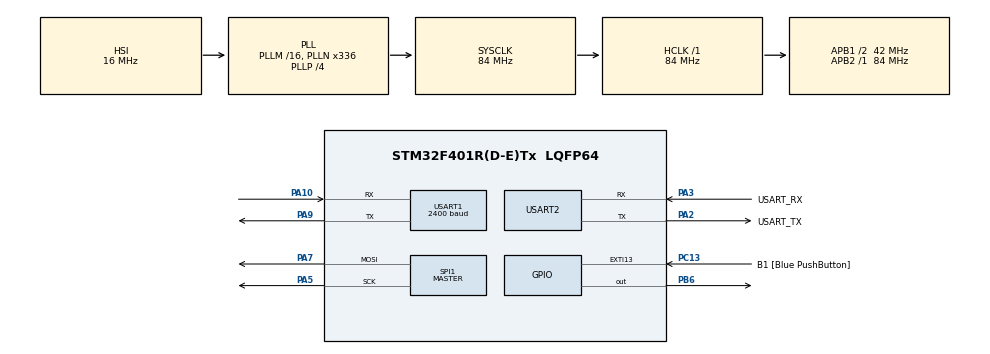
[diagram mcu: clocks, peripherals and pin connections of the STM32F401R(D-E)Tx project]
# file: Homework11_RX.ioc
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Dma.Request0=USART2_TX
Dma.Request1=SPI1_TX
Dma.SPI1_TX.1.Direction=DMA_MEMORY_TO_PERIPH
Dma.SPI1_TX.1.FIFOMode=DMA_FIFOMODE_DISABLE
Dma.SPI1_TX.1.Instance=DMA2_Stream3
Dma.SPI1_TX.1.MemDataAlignment=DMA_MDATAALIGN_BYTE
Dma.SPI1_TX.1.MemInc=DMA_MINC_ENABLE
Dma.SPI1_TX.1.Mode=DMA_NORMAL
Dma.SPI1_TX.1.PeriphDataAlignment=DMA_PDATAALIGN_BYTE
Dma.SPI1_TX.1.PeriphInc=DMA_PINC_DISABLE
Dma.SPI1_TX.1.Priority=DMA_PRIORITY_LOW
Dma.USART2_TX.0.Direction=DMA_MEMORY_TO_PERIPH
Dma.USART2_TX.0.FIFOMode=DMA_FIFOMODE_DISABLE
Dma.USART2_TX.0.Instance=DMA1_Stream6
Dma.USART2_TX.0.MemDataAlignment=DMA_MDATAALIGN_BYTE
Dma.USART2_TX.0.MemInc=DMA_MINC_ENABLE
Dma.USART2_TX.0.Mode=DMA_NORMAL
Dma.USART2_TX.0.PeriphDataAlignment=DMA_PDATAALIGN_BYTE
Dma.USART2_TX.0.PeriphInc=DMA_PINC_DISABLE
Dma.USART2_TX.0.Priority=DMA_PRIORITY_LOW
Mcu.Family=STM32F4
Mcu.Name=STM32F401R(D-E)Tx
Mcu.Package=LQFP64
NVIC.DMA1_Stream6_IRQn=true\:0\:0\:false\:false\:true\:false\:true\:true
NVIC.DMA2_Stream3_IRQn=true\:0\:0\:false\:false\:true\:false\:true\:true
NVIC.PriorityGroup=NVIC_PRIORITYGROUP_4
NVIC.SPI1_IRQn=true\:0\:0\:false\:false\:true\:true\:true\:true
NVIC.TIM3_IRQn=true\:0\:0\:false\:false\:true\:true\:true\:true
NVIC.USART1_IRQn=true\:0\:0\:false\:false\:true\:true\:true\:true
NVIC.USART2_IRQn=true\:0\:0\:false\:false\:true\:true\:true\:true
PA10.Mode=Asynchronous
PA10.Signal=USART1_RX
PA13.GPIO_Label=TMS
PA13.Mode=Trace_Asynchronous_SW
PA13.Signal=SYS_JTMS-SWDIO
PA14.GPIO_Label=TCK
PA14.Mode=Trace_Asynchronous_SW
PA14.Signal=SYS_JTCK-SWCLK
PA2.GPIO_Label=USART_TX
PA2.GPIO_Mode=GPIO_MODE_AF_PP
PA2.GPIO_PuPd=GPIO_NOPULL
PA2.GPIO_Speed=GPIO_SPEED_FREQ_LOW
PA2.Mode=Asynchronous
PA2.Signal=USART2_TX
PA3.GPIO_Label=USART_RX
PA3.GPIO_Mode=GPIO_MODE_AF_PP
PA3.GPIO_PuPd=GPIO_NOPULL
PA3.GPIO_Speed=GPIO_SPEED_FREQ_LOW
PA3.Mode=Asynchronous
PA3.Signal=USART2_RX
PA4.Signal=SPI1_NSS
PA5.Mode=TX_Only_Simplex_Unidirect_Master
PA5.Signal=SPI1_SCK
PA6.Signal=SPI1_MISO
PA7.Mode=TX_Only_Simplex_Unidirect_Master
PA7.Signal=SPI1_MOSI
PA9.Mode=Asynchronous
PA9.Signal=USART1_TX
PB3.GPIO_Label=SWO
PB3.Mode=Trace_Asynchronous_SW
PB3.Signal=SYS_JTDO-SWO
PB6.Signal=GPIO_Output
PC13-ANTI_TAMP.GPIO_Label=B1 [Blue PushButton]
PC13-ANTI_TAMP.GPIO_ModeDefaultEXTI=GPIO_MODE_IT_FALLING
PC13-ANTI_TAMP.GPIO_PuPd=GPIO_NOPULL
PC13-ANTI_TAMP.Signal=GPXTI13
PC14-OSC32_IN.Mode=LSE-External-Oscillator
PC14-OSC32_IN.Signal=RCC_OSC32_IN
PC15-OSC32_OUT.Mode=LSE-External-Oscillator
PC15-OSC32_OUT.Signal=RCC_OSC32_OUT
PH0\ -\ OSC_IN.Mode=HSE-External-Clock-Source
PH0\ -\ OSC_IN.Signal=RCC_OSC_IN
PH1\ -\ OSC_OUT.Mode=HSE-External-Clock-Source
PH1\ -\ OSC_OUT.Signal=RCC_OSC_OUT
ProjectManager.HeapSize=0x200
ProjectManager.StackSize=0x400
ProjectManager.TargetToolchain=STM32CubeIDE
RCC.48MHZClocksFreq_Value=48000000
RCC.AHBFreq_Value=84000000
RCC.APB1CLKDivider=RCC_HCLK_DIV2
RCC.APB1Freq_Value=42000000
RCC.APB1TimFreq_Value=84000000
RCC.APB2Freq_Value=84000000
RCC.APB2TimFreq_Value=84000000
RCC.CortexFreq_Value=84000000
RCC.HCLKFreq_Value=84000000
RCC.HSE_VALUE=8000000
RCC.HSI_VALUE=16000000
RCC.PLLN=336
RCC.PLLP=RCC_PLLP_DIV4
RCC.PLLQ=7
RCC.SYSCLKFreq_VALUE=84000000
RCC.SYSCLKSource=RCC_SYSCLKSOURCE_PLLCLK
RCC.VCOOutputFreq_Value=336000000
SPI1.BaudRatePrescaler=SPI_BAUDRATEPRESCALER_4
SPI1.Direction=SPI_DIRECTION_2LINES
SPI1.Mode=SPI_MODE_MASTER
SPI1.VirtualType=VM_MASTER
TIM3.Period=399
TIM3.Prescaler=839
TIM3.TIM_MasterOutputTrigger=TIM_TRGO_UPDATE
USART1.BaudRate=2400
USART1.VirtualMode=VM_ASYNC
USART1.WordLength=WORDLENGTH_8B
USART2.VirtualMode=VM_ASYNC
VP_TIM3_VS_ClockSourceINT.Mode=Internal
board=NUCLEO-F401RE

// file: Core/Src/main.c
/* USER CODE BEGIN Header */
/**
  ******************************************************************************
  * @file           : main.c
  * @brief          : Main program body
  ******************************************************************************
  * @attention
  *
  * Copyright (c) 2025 STMicroelectronics.
  * All rights reserved.
  *
  * This software is licensed under terms that can be found in the LICENSE file
  * in the root directory of this software component.
  * If no LICENSE file comes with this software, it is provided AS-IS.
  *
  ******************************************************************************
  */
/* USER CODE END Header */
#include "main.h"

SPI_HandleTypeDef hspi1;
DMA_HandleTypeDef hdma_spi1_tx;

TIM_HandleTypeDef htim3;

UART_HandleTypeDef huart1;
UART_HandleTypeDef huart2;
DMA_HandleTypeDef hdma_usart2_tx;

/* USER CODE BEGIN PV */
uint8_t buffer = 0;

uint8_t display_F[] = { 127, 72, 72, 72, 64 };
uint8_t display_E[] = { 127, 73, 73, 73, 65 };
uint8_t display_D[] = { 127, 65, 65, 34, 28 };
uint8_t display_C[] = { 62, 65, 65, 65, 65};
uint8_t display_B[] = {127, 73, 73, 73, 119};
uint8_t display_A[] = {63, 72, 72, 72, 63};
uint8_t display_9[] = {48, 73, 73, 73, 126};
uint8_t display_8[] = {54, 73, 73, 73, 118};
uint8_t display_7[] = {64, 67, 76, 80, 96};
uint8_t display_6[] = {62, 73, 73, 73, 70};
uint8_t display_5[] = {121, 73, 73, 73, 70};
uint8_t display_4[] = {12, 20, 36, 127, 4};
uint8_t display_3[] = {34, 65, 73, 73, 54};
uint8_t display_2[] = {33, 67, 69, 73, 49};
uint8_t display_1[] = {17, 33, 127, 1, 1};
uint8_t display_0[] = {62, 65, 65, 65, 62};

uint8_t *alphabet[] = {
  ['F'] = display_F,
  ['E'] = display_E,
  ['D'] = display_D,
  ['C'] = display_C,
  ['B'] = display_B,
  ['A'] = display_A,
  ['9'] = display_9,
  ['8'] = display_8,
  ['7'] = display_7,
  ['6'] = display_6,
  ['5'] = display_5,
  ['4'] = display_4,
  ['3'] = display_3,
  ['2'] = display_2,
  ['1'] = display_1,
  ['0'] = display_0,
};
/* USER CODE END PV */

void SystemClock_Config(void);
static void MX_GPIO_Init(void);
static void MX_DMA_Init(void);
static void MX_USART2_UART_Init(void);
static void MX_USART1_UART_Init(void);
static void MX_SPI1_Init(void);
static void MX_TIM3_Init(void);

/* USER CODE BEGIN 0 */
void HAL_UART_RxCpltCallback(UART_HandleTypeDef *huart) {
	if (huart == &huart1) {
		HAL_UART_Transmit_IT(&huart2, &buffer, sizeof(buffer));

		HAL_TIM_Base_Start_IT(&htim3);

		HAL_UART_Receive_IT(&huart1, &buffer, sizeof(buffer));
	}
}

int col = 0;
void HAL_TIM_PeriodElapsedCallback(TIM_HandleTypeDef *htim) {
	if(htim == &htim3) {
		if(!((buffer <= 'F' && buffer >= 'A') || (buffer <= '9' && buffer >= '0'))) return;
		uint8_t data[] = {alphabet[buffer][col], 1<<(4-col)};
		HAL_SPI_Transmit_DMA(&hspi1, data, sizeof(data));
		col = (col+1) % 5;
	}
}

void HAL_SPI_TxCpltCallback(SPI_HandleTypeDef *hspi) {
    if (hspi == &hspi1) {
    	HAL_GPIO_TogglePin(GPIOB, GPIO_PIN_6);
    	HAL_GPIO_TogglePin(GPIOB, GPIO_PIN_6);
    }
}

/* USER CODE END 0 */

int main(void)
{

  /* MCU Configuration--------------------------------------------------------*/

  /* Reset of all peripherals, Initializes the Flash interface and the Systick. */
  HAL_Init();

  /* Configure the system clock */
  SystemClock_Config();

  /* Initialize all configured peripherals */
  MX_GPIO_Init();
  MX_DMA_Init();
  MX_USART2_UART_Init();
  MX_USART1_UART_Init();
  MX_SPI1_Init();
  MX_TIM3_Init();
  /* USER CODE BEGIN 2 */
  HAL_UART_Receive_IT(&huart1, &buffer, sizeof(buffer));
  HAL_GPIO_WritePin(GPIOB, GPIO_PIN_6, GPIO_PIN_RESET);
  /* USER CODE END 2 */

  /* Infinite loop */
  while (1)
  {

  }
}

void SystemClock_Config(void)
{
  RCC_OscInitTypeDef RCC_OscInitStruct = {0};
  RCC_ClkInitTypeDef RCC_ClkInitStruct = {0};

  /** Configure the main internal regulator output voltage
  */
  __HAL_RCC_PWR_CLK_ENABLE();
  __HAL_PWR_VOLTAGESCALING_CONFIG(PWR_REGULATOR_VOLTAGE_SCALE2);

  /** Initializes the RCC Oscillators according to the specified parameters
  * in the RCC_OscInitTypeDef structure.
  */
  RCC_OscInitStruct.OscillatorType = RCC_OSCILLATORTYPE_HSI;
  RCC_OscInitStruct.HSIState = RCC_HSI_ON;
  RCC_OscInitStruct.HSICalibrationValue = RCC_HSICALIBRATION_DEFAULT;
  RCC_OscInitStruct.PLL.PLLState = RCC_PLL_ON;
  RCC_OscInitStruct.PLL.PLLSource = RCC_PLLSOURCE_HSI;
  RCC_OscInitStruct.PLL.PLLM = 16;
  RCC_OscInitStruct.PLL.PLLN = 336;
  RCC_OscInitStruct.PLL.PLLP = RCC_PLLP_DIV4;
  RCC_OscInitStruct.PLL.PLLQ = 7;
  if (HAL_RCC_OscConfig(&RCC_OscInitStruct) != HAL_OK)
  {
    Error_Handler();
  }

  /** Initializes the CPU, AHB and APB buses clocks
  */
  RCC_ClkInitStruct.ClockType = RCC_CLOCKTYPE_HCLK|RCC_CLOCKTYPE_SYSCLK
                              |RCC_CLOCKTYPE_PCLK1|RCC_CLOCKTYPE_PCLK2;
  RCC_ClkInitStruct.SYSCLKSource = RCC_SYSCLKSOURCE_PLLCLK;
  RCC_ClkInitStruct.AHBCLKDivider = RCC_SYSCLK_DIV1;
  RCC_ClkInitStruct.APB1CLKDivider = RCC_HCLK_DIV2;
  RCC_ClkInitStruct.APB2CLKDivider = RCC_HCLK_DIV1;

  if (HAL_RCC_ClockConfig(&RCC_ClkInitStruct, FLASH_LATENCY_2) != HAL_OK)
  {
    Error_Handler();
  }
}

static void MX_SPI1_Init(void)
{

  /* SPI1 parameter configuration*/
  hspi1.Instance = SPI1;
  hspi1.Init.Mode = SPI_MODE_MASTER;
  hspi1.Init.Direction = SPI_DIRECTION_2LINES;
  hspi1.Init.DataSize = SPI_DATASIZE_8BIT;
  hspi1.Init.CLKPolarity = SPI_POLARITY_LOW;
  hspi1.Init.CLKPhase = SPI_PHASE_1EDGE;
  hspi1.Init.NSS = SPI_NSS_SOFT;
  hspi1.Init.BaudRatePrescaler = SPI_BAUDRATEPRESCALER_4;
  hspi1.Init.FirstBit = SPI_FIRSTBIT_MSB;
  hspi1.Init.TIMode = SPI_TIMODE_DISABLE;
  hspi1.Init.CRCCalculation = SPI_CRCCALCULATION_DISABLE;
  hspi1.Init.CRCPolynomial = 10;
  if (HAL_SPI_Init(&hspi1) != HAL_OK)
  {
    Error_Handler();
  }

}

static void MX_TIM3_Init(void)
{

  TIM_ClockConfigTypeDef sClockSourceConfig = {0};
  TIM_MasterConfigTypeDef sMasterConfig = {0};

  htim3.Instance = TIM3;
  htim3.Init.Prescaler = 839;
  htim3.Init.CounterMode = TIM_COUNTERMODE_UP;
  htim3.Init.Period = 399;
  htim3.Init.ClockDivision = TIM_CLOCKDIVISION_DIV1;
  htim3.Init.AutoReloadPreload = TIM_AUTORELOAD_PRELOAD_DISABLE;
  if (HAL_TIM_Base_Init(&htim3) != HAL_OK)
  {
    Error_Handler();
  }
  sClockSourceConfig.ClockSource = TIM_CLOCKSOURCE_INTERNAL;
  if (HAL_TIM_ConfigClockSource(&htim3, &sClockSourceConfig) != HAL_OK)
  {
    Error_Handler();
  }
  sMasterConfig.MasterOutputTrigger = TIM_TRGO_UPDATE;
  sMasterConfig.MasterSlaveMode = TIM_MASTERSLAVEMODE_DISABLE;
  if (HAL_TIMEx_MasterConfigSynchronization(&htim3, &sMasterConfig) != HAL_OK)
  {
    Error_Handler();
  }

}

static void MX_USART1_UART_Init(void)
{

  huart1.Instance = USART1;
  huart1.Init.BaudRate = 2400;
  huart1.Init.WordLength = UART_WORDLENGTH_8B;
  huart1.Init.StopBits = UART_STOPBITS_1;
  huart1.Init.Parity = UART_PARITY_NONE;
  huart1.Init.Mode = UART_MODE_TX_RX;
  huart1.Init.HwFlowCtl = UART_HWCONTROL_NONE;
  huart1.Init.OverSampling = UART_OVERSAMPLING_16;
  if (HAL_UART_Init(&huart1) != HAL_OK)
  {
    Error_Handler();
  }

}

static void MX_USART2_UART_Init(void)
{

  huart2.Instance = USART2;
  huart2.Init.BaudRate = 115200;
  huart2.Init.WordLength = UART_WORDLENGTH_8B;
  huart2.Init.StopBits = UART_STOPBITS_1;
  huart2.Init.Parity = UART_PARITY_NONE;
  huart2.Init.Mode = UART_MODE_TX_RX;
  huart2.Init.HwFlowCtl = UART_HWCONTROL_NONE;
  huart2.Init.OverSampling = UART_OVERSAMPLING_16;
  if (HAL_UART_Init(&huart2) != HAL_OK)
  {
    Error_Handler();
  }

}

static void MX_DMA_Init(void)
{

  /* DMA controller clock enable */
  __HAL_RCC_DMA1_CLK_ENABLE();
  __HAL_RCC_DMA2_CLK_ENABLE();

  /* DMA interrupt init */
  /* DMA1_Stream6_IRQn interrupt configuration */
  HAL_NVIC_SetPriority(DMA1_Stream6_IRQn, 0, 0);
  HAL_NVIC_EnableIRQ(DMA1_Stream6_IRQn);
  /* DMA2_Stream3_IRQn interrupt configuration */
  HAL_NVIC_SetPriority(DMA2_Stream3_IRQn, 0, 0);
  HAL_NVIC_EnableIRQ(DMA2_Stream3_IRQn);

}

static void MX_GPIO_Init(void)
{
  GPIO_InitTypeDef GPIO_InitStruct = {0};

  /* GPIO Ports Clock Enable */
  __HAL_RCC_GPIOC_CLK_ENABLE();
  __HAL_RCC_GPIOH_CLK_ENABLE();
  __HAL_RCC_GPIOA_CLK_ENABLE();
  __HAL_RCC_GPIOB_CLK_ENABLE();

  /*Configure GPIO pin Output Level */
  HAL_GPIO_WritePin(GPIOB, GPIO_PIN_6, GPIO_PIN_RESET);

  /*Configure GPIO pin : B1_Pin */
  GPIO_InitStruct.Pin = B1_Pin;
  GPIO_InitStruct.Mode = GPIO_MODE_IT_FALLING;
  GPIO_InitStruct.Pull = GPIO_NOPULL;
  HAL_GPIO_Init(B1_GPIO_Port, &GPIO_InitStruct);

  /*Configure GPIO pin : PB6 */
  GPIO_InitStruct.Pin = GPIO_PIN_6;
  GPIO_InitStruct.Mode = GPIO_MODE_OUTPUT_PP;
  GPIO_InitStruct.Pull = GPIO_NOPULL;
  GPIO_InitStruct.Speed = GPIO_SPEED_FREQ_LOW;
  HAL_GPIO_Init(GPIOB, &GPIO_InitStruct);

}

void Error_Handler(void)
{
  __disable_irq();
  while (1)
  {
  }
}
